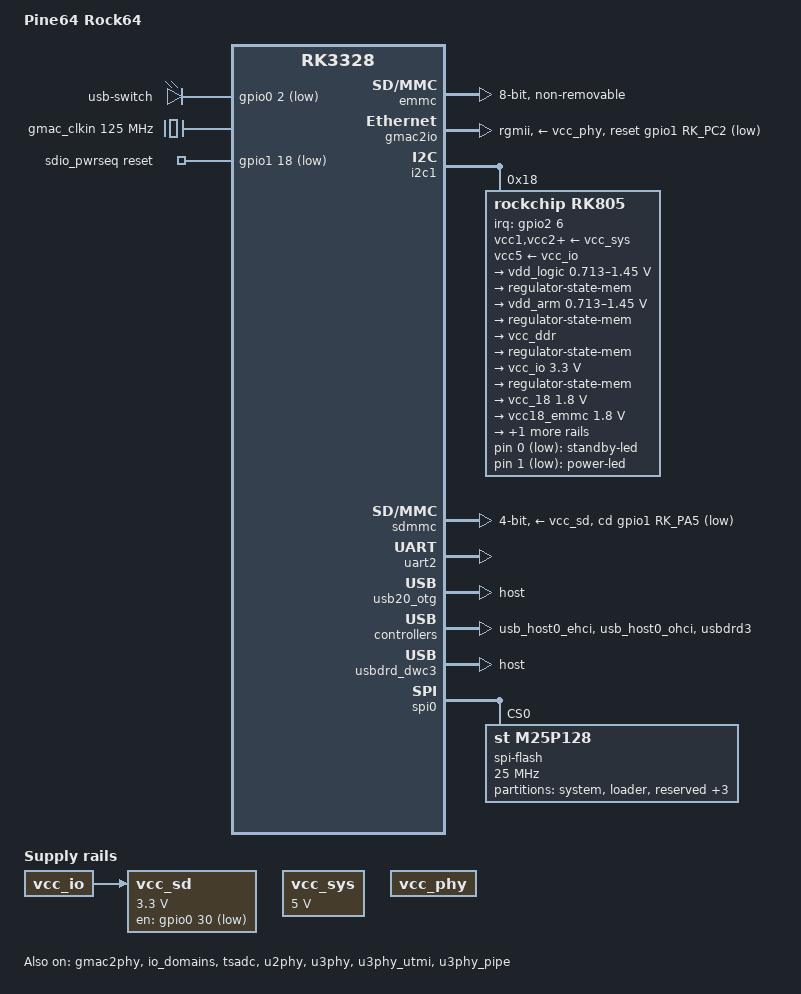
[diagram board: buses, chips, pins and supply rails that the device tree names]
/*
 * Copyright (c) 2017 PINE64
 *
 * This file is dual-licensed: you can use it either under the terms
 * of the GPL or the X11 license, at your option. Note that this dual
 * licensing only applies to this file, and not this project as a
 * whole.
 *
 *  a) This library is free software; you can redistribute it and/or
 *     modify it under the terms of the GNU General Public License as
 *     published by the Free Software Foundation; either version 2 of the
 *     License, or (at your option) any later version.
 *
 *     This library is distributed in the hope that it will be useful,
 *     but WITHOUT ANY WARRANTY; without even the implied warranty of
 *     MERCHANTABILITY or FITNESS FOR A PARTICULAR PURPOSE.  See the
 *     GNU General Public License for more details.
 *
 * Or, alternatively,
 *
 *  b) Permission is hereby granted, free of charge, to any person
 *     obtaining a copy of this software and associated documentation
 *     files (the "Software"), to deal in the Software without
 *     restriction, including without limitation the rights to use,
 *     copy, modify, merge, publish, distribute, sublicense, and/or
 *     sell copies of the Software, and to permit persons to whom the
 *     Software is furnished to do so, subject to the following
 *     conditions:
 *
 *     The above copyright notice and this permission notice shall be
 *     included in all copies or substantial portions of the Software.
 *
 *     THE SOFTWARE IS PROVIDED "AS IS", WITHOUT WARRANTY OF ANY KIND,
 *     EXPRESS OR IMPLIED, INCLUDING BUT NOT LIMITED TO THE WARRANTIES
 *     OF MERCHANTABILITY, FITNESS FOR A PARTICULAR PURPOSE AND
 *     NONINFRINGEMENT. IN NO EVENT SHALL THE AUTHORS OR COPYRIGHT
 *     HOLDERS BE LIABLE FOR ANY CLAIM, DAMAGES OR OTHER LIABILITY,
 *     WHETHER IN AN ACTION OF CONTRACT, TORT OR OTHERWISE, ARISING
 *     FROM, OUT OF OR IN CONNECTION WITH THE SOFTWARE OR THE USE OR
 *     OTHER DEALINGS IN THE SOFTWARE.
 */

/dts-v1/;
#include "rk3328.dtsi"

/ {
	model = "Pine64 Rock64";
	compatible = "pine64,rock64", "rockchip,rk3328";

	chosen {
		stdout-path = "serial2:1500000n8";
	};

	leds {
		compatible = "gpio-leds";

		standby-led {
			linux,default-trigger = "disk-activity";
			gpios = <&rk805 0 GPIO_ACTIVE_LOW>;
			default-state = "on";
		};

		power-led {
			gpios = <&rk805 1 GPIO_ACTIVE_LOW>;
			default-state = "on";
		};
	};

	leds {
		compatible = "gpio-leds";

		usb-switch {
			linux,default-trigger = "none";
			gpios = <&gpio0 2 1>;
			mode = <0x23>;
			default-state = "on";
		};
	};

	gmac_clkin: external-gmac-clock {
		compatible = "fixed-clock";
		clock-frequency = <125000000>;
		clock-output-names = "gmac_clkin";
		#clock-cells = <0>;
	};

	sdio_pwrseq: sdio-pwrseq {
		compatible = "mmc-pwrseq-simple";
		pinctrl-names = "default";
		pinctrl-0 = <&wifi_enable_h>;

		/*
		 * On the module itself this is one of these (depending
		 * on the actual card populated):
		 * - SDIO_RESET_L_WL_REG_ON
		 * - PDN (power down when low)
		 */
		reset-gpios = <&gpio1 18 GPIO_ACTIVE_LOW>;
	};

	vcc_sd: sdmmc-regulator {
		compatible = "regulator-fixed";
		gpio = <&gpio0 30 GPIO_ACTIVE_LOW>;
		pinctrl-names = "default";
		pinctrl-0 = <&sdmmc0m1_gpio>;
		regulator-name = "vcc_sd";
		regulator-min-microvolt = <3300000>;
		regulator-max-microvolt = <3300000>;
		vin-supply = <&vcc_io>;
	};

	vcc_sys: vcc-sys {
		compatible = "regulator-fixed";
		regulator-name = "vcc_sys";
		regulator-always-on;
		regulator-boot-on;
		regulator-min-microvolt = <5000000>;
		regulator-max-microvolt = <5000000>;
	};

	vcc_phy: vcc-phy-regulator {
		compatible = "regulator-fixed";
		regulator-name = "vcc_phy";
		regulator-always-on;
		regulator-boot-on;
	};
};

&cpu0 {
	cpu-supply = <&vdd_arm>;
};

&cpu1 {
	cpu-supply = <&vdd_arm>;
};

&cpu2 {
	cpu-supply = <&vdd_arm>;
};

&cpu3 {
	cpu-supply = <&vdd_arm>;
};

&emmc {
	max-frequency = <200000000>;
	bus-width = <8>;
	cap-mmc-highspeed;
	mmc-hs200-1_8v;
	non-removable;
	num-slots = <1>;
	pinctrl-names = "default";
	pinctrl-0 = <&emmc_clk &emmc_cmd &emmc_bus8>;
	status = "okay";
	supports-emmc;
	clocks = <&cru HCLK_EMMC>, <&cru SCLK_EMMC>,
	         <&cru SCLK_EMMC_DRV>, <&cru SCLK_EMMC_SAMPLE>;
	clock-names = "biu", "ciu", "ciu-drv", "ciu-sample";
};

&gmac2io {
	phy-supply = <&vcc_phy>;
	phy-mode = "rgmii";
	clock_in_out = "input";
	snps,reset-gpio = <&gpio1 RK_PC2 GPIO_ACTIVE_LOW>;
	snps,reset-active-low;
	snps,reset-delays-us = <0 10000 50000>;
	snps,force_thresh_dma_mode;
	assigned-clocks = <&cru SCLK_MAC2IO>, <&cru SCLK_MAC2IO_EXT>;
	assigned-clock-parents = <&gmac_clkin>, <&gmac_clkin>;
	pinctrl-names = "default";
	pinctrl-0 = <&rgmiim1_pins>;
	tx_delay = <0x24>;
	rx_delay = <0x18>;
	status = "okay";
};

&gmac2phy {
	phy-supply = <&vcc_phy>;
	clock_in_out = "output";
	assigned-clocks = <&cru SCLK_MAC2PHY_SRC>;
	assigned-clock-rate = <50000000>;
	assigned-clocks = <&cru SCLK_MAC2PHY>;
	assigned-clock-parents = <&cru SCLK_MAC2PHY_SRC>;
	status = "okay";
};

&i2c1 {
	status = "okay";

	rk805: rk805@18 {
		compatible = "rockchip,rk805";
		reg = <0x18>;
		interrupt-parent = <&gpio2>;
		interrupts = <6 IRQ_TYPE_LEVEL_LOW>;
		#clock-cells = <1>;
		clock-output-names = "xin32k", "rk805-clkout2";
		gpio-controller;
		#gpio-cells = <2>;
		pinctrl-names = "default";
		pinctrl-0 = <&pmic_int_l>;
		rockchip,system-power-controller;
		wakeup-source;

		vcc1-supply = <&vcc_sys>;
		vcc2-supply = <&vcc_sys>;
		vcc3-supply = <&vcc_sys>;
		vcc4-supply = <&vcc_sys>;
		vcc5-supply = <&vcc_io>;
		vcc6-supply = <&vcc_sys>;

		regulators {
			vdd_logic: DCDC_REG1 {
				regulator-name = "vdd_logic";
				regulator-min-microvolt = <712500>;
				regulator-max-microvolt = <1450000>;
				regulator-initial-mode = <0x1>;
				regulator-ramp-delay = <12500>;
				regulator-boot-on;
				regulator-always-on;
				regulator-state-mem {
					regulator-mode = <0x2>;
					regulator-on-in-suspend;
					regulator-suspend-microvolt = <1000000>;
				};
			};

			vdd_arm: DCDC_REG2 {
				regulator-name = "vdd_arm";
				regulator-min-microvolt = <712500>;
				regulator-max-microvolt = <1450000>;
				regulator-initial-mode = <0x1>;
				regulator-ramp-delay = <12500>;
				regulator-boot-on;
				regulator-always-on;
				regulator-state-mem {
					regulator-mode = <0x2>;
					regulator-on-in-suspend;
					regulator-suspend-microvolt = <950000>;
				};
			};

			vcc_ddr: DCDC_REG3 {
				regulator-name = "vcc_ddr";
				regulator-initial-mode = <0x1>;
				regulator-boot-on;
				regulator-always-on;
				regulator-state-mem {
					regulator-mode = <0x2>;
					regulator-on-in-suspend;
				};
			};

			vcc_io: DCDC_REG4 {
				regulator-name = "vcc_io";
				regulator-min-microvolt = <3300000>;
				regulator-max-microvolt = <3300000>;
				regulator-initial-mode = <0x1>;
				regulator-boot-on;
				regulator-always-on;
				regulator-state-mem {
					regulator-mode = <0x2>;
					regulator-on-in-suspend;
					regulator-suspend-microvolt = <3300000>;
				};
			};

			vcc_18: LDO_REG1 {
				regulator-name = "vdd_18";
				regulator-min-microvolt = <1800000>;
				regulator-max-microvolt = <1800000>;
				regulator-boot-on;
				regulator-always-on;
				regulator-state-mem {
					regulator-on-in-suspend;
					regulator-suspend-microvolt = <1800000>;
				};
			};

			vcc18_emmc: LDO_REG2 {
				regulator-name = "vcc_18emmc";
				regulator-min-microvolt = <1800000>;
				regulator-max-microvolt = <1800000>;
				regulator-boot-on;
				regulator-always-on;
				regulator-state-mem {
					regulator-on-in-suspend;
					regulator-suspend-microvolt = <1800000>;
				};
			};

			vdd_10: LDO_REG3 {
				regulator-name = "vdd_10";
				regulator-min-microvolt = <1000000>;
				regulator-max-microvolt = <1000000>;
				regulator-boot-on;
				regulator-always-on;
				regulator-state-mem {
					regulator-on-in-suspend;
					regulator-suspend-microvolt = <1000000>;
				};
			};
		};
	};
};

&io_domains {
	status = "okay";

	vccio1-supply = <&vcc_io>;
	vccio2-supply = <&vcc18_emmc>;
	vccio3-supply = <&vcc_io>;
	vccio4-supply = <&vcc_18>;
	vccio5-supply = <&vcc_io>;
	vccio6-supply = <&vcc_io>;
	pmuio-supply = <&vcc_io>;
};

&pinctrl {
	pmic {
		pmic_int_l: pmic-int-l {
			rockchip,pins = <2 RK_PA6 RK_FUNC_GPIO &pcfg_pull_up>;
		};
	};

	sdio-pwrseq {
		wifi_enable_h: wifi-enable-h {
			rockchip,pins = <1 18 RK_FUNC_GPIO &pcfg_pull_none>;
		};
	};

	usb2 {
		usb20_host_drv: usb20-host-drv {
			rockchip,pins = <0 RK_PD3 RK_FUNC_GPIO &pcfg_pull_none>;
		};
	};

	usb3 {
		usb30_host_drv: usb30-host-drv {
			rockchip,pins = <0 RK_PA0 RK_FUNC_GPIO &pcfg_pull_none>;
		};
	};
};

&sdio {
	bus-width = <4>;
	cap-sd-highspeed;
	cap-sdio-irq;
	keep-power-in-suspend;
	max-frequency = <150000000>;
	mmc-pwrseq = <&sdio_pwrseq>;
	non-removable;
	pinctrl-names = "default";
	pinctrl-0 = <&sdmmc1_bus4 &sdmmc1_cmd &sdmmc1_clk>;
	status = "disabled";
};

&sdmmc {
	bus-width = <4>;
	cap-mmc-highspeed;
	cap-sd-highspeed;
	cd-gpios = <&gpio1 RK_PA5 GPIO_ACTIVE_LOW>;
	disable-wp;
	max-frequency = <150000000>;
	num-slots = <1>;
	pinctrl-names = "default";
	pinctrl-0 = <&sdmmc0_clk &sdmmc0_cmd &sdmmc0_dectn &sdmmc0_bus4>;
	supports-sd;
	vmmc-supply = <&vcc_sd>;
	vqmmc-supply = <&vcc_sd>;
	status = "okay";
};

&tsadc {
	rockchip,hw-tshut-mode = <0>;
	rockchip,hw-tshut-polarity = <0>;
	status = "okay";
};

&uart2 {
	status = "okay";
};

&u2phy {
	status = "okay";
};

&u2phy_host {
	status = "okay";
};

&u2phy_otg {
	status = "okay";
};

&usb20_otg {
	status = "okay";
};

&usb_host0_ehci {
	status = "okay";
};

&usb_host0_ohci {
	status = "okay";
};

&usbdrd3 {
	status = "okay";
};

&usbdrd_dwc3 {
	dr_mode = "host";
	status = "okay";
};

&spi0 {
	status = "okay";

	/* SPI DMA does not work currently */
	/delete-property/ dmas;
	/delete-property/ #dma-cells;
	/delete-property/ dma-names;

	 spi-flash@0 {
		#address-cells = <0x1>;
		#size-cells = <1>;
		compatible = "st,m25p128", "spi-flash";
		reg = <0x0>;
		spi-max-frequency = <25000000>;
		status = "okay";
		m25p,fast-read;

		partitions {
			compatible = "fixed-partitions";
			#address-cells = <1>;
			#size-cells = <1>;

			system@0 {
				label = "system";
				reg = <0x0 0x8000>;
				read-only;
			};

			loader@8000 {
				label = "loader";
				reg = <0x8000 0x3F8000>;
			};

			reserved@400000 {
				label = "reserved";
				reg = <0x400000 0x3C0000>;
				read-only;
			};

			vendor@7c0000 {
				label = "vendor";
				reg = <0x7C0000 0x40000>;
			};

			uboot@800000 {
				label = "uboot";
				reg = <0x800000 0x400000>;
			};

			atf@c00000 {
				label = "atf";
				reg = <0xC00000 0x400000>;
			};
		};
	};
};

&u2phy {
	otg-vbus-gpios = <&gpio0 RK_PD3 GPIO_ACTIVE_HIGH>;
	status = "okay";

	u2phy_host: host-port {
		status = "okay";
	};

	u2phy_otg: otg-port {
		status = "okay";
	};
};

&u3phy {
	vbus-drv-gpios = <&gpio0 RK_PA0 GPIO_ACTIVE_HIGH>;
	status = "okay";
};

&u3phy_utmi {
	status = "okay";
};

&u3phy_pipe {
	status = "okay";
};

&usb20_otg {
	dr_mode = "host";
	status = "okay";
};

&usb_host0_ehci {
	status = "okay";
};

&usb_host0_ohci {
	status = "okay";
};

&usbdrd3 {
	status = "okay";
};

&usbdrd_dwc3 {
	dr_mode = "host";
	status = "okay";
};
